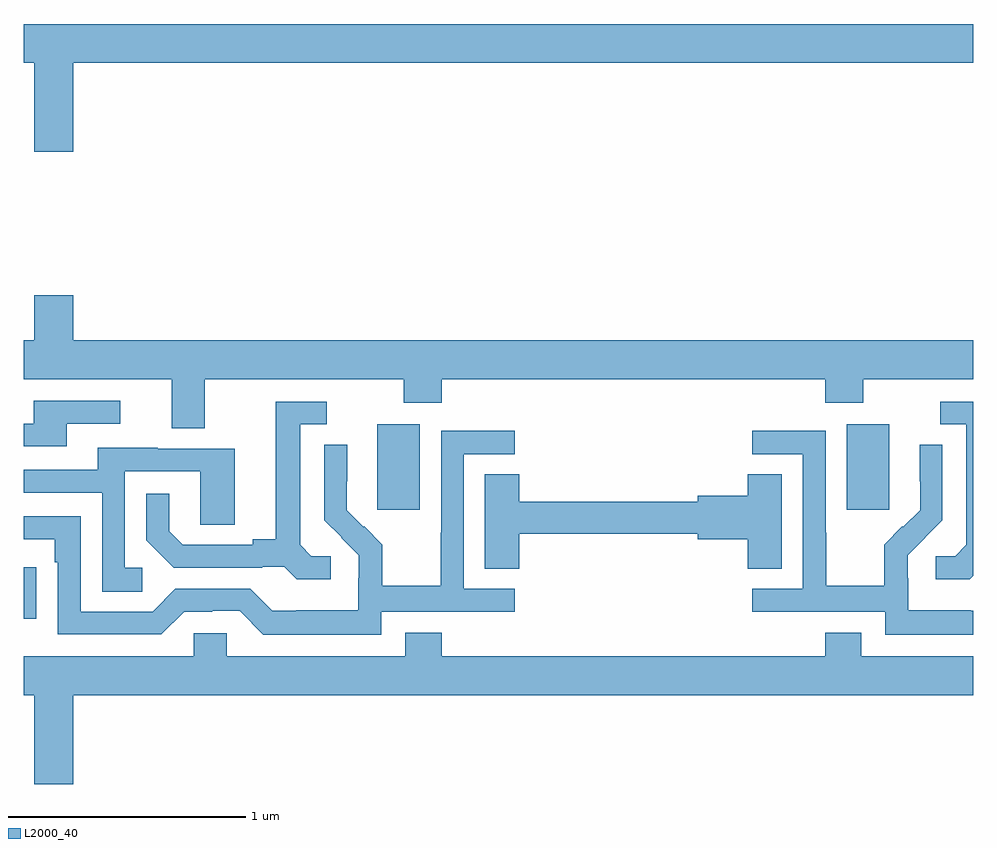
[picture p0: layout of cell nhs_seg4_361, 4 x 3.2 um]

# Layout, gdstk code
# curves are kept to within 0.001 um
import gdstk
lib = gdstk.Library(unit=1e-6, precision=1e-09)
def R(c, l, rs):  # rectangles x0, y0, x1, y1
    for r in rs: c.add(gdstk.rectangle(r[:2], r[2:], *l))
def P(c, l, *ps):  # polygons
    for p in ps: c.add(gdstk.Polygon(p, *l))
L2000_40 = (2000, 40)

nhs_seg4_361 = lib.new_cell('nhs_seg4_361')
R(nhs_seg4_361, L2000_40, [(129,767.838,129.053,768.056), (130.49,768.297,130.669,768.658), (132.467,768.297,132.646,768.658)])
P(nhs_seg4_361, L2000_40, [(129.208,770.18),(133,770.18),(133,770.344),(129,770.344),(129,770.18),(129.044,770.18),(129.044,769.806),(129.208,769.806)],
  [(129.763,768.848),(130.6,768.848),(130.6,768.749),(130.76,768.749),(130.76,768.848),(132.377,768.848),(132.377,768.749),(132.537,768.749),(132.537,768.848),(133,768.848),(133,769.012),(129.208,769.012),(129.208,769.201),(129.044,769.201),(129.044,769.012),(129,769.012),(129,768.848),(129.623,768.848),(129.623,768.64),(129.763,768.64)],
  [(129.181,768.66),(129.406,768.66),(129.406,768.756),(129.041,768.756),(129.041,768.66),(129,768.66),(129,768.564),(129.181,768.564)],
  [(133,768.019),(133,768.753),(132.861,768.753),(132.861,768.657),(132.971,768.657),(132.971,768.149),(132.924,768.102),(132.843,768.102),(132.843,768.005),(132.986,768.005)],
  [(130.294,768.102),(130.212,768.102),(130.165,768.149),(130.165,768.657),(130.276,768.657),(130.276,768.753),(130.061,768.753),(130.061,768.173),(129.965,768.173),(129.965,768.15),(129.67,768.15),(129.613,768.207),(129.613,768.364),(129.516,768.364),(129.516,768.17),(129.632,768.054),(130.004,768.054),(130.004,768.057),(130.098,768.057),(130.15,768.005),(130.294,768.005)],
  [(133,767.871),(132.989,767.871),(132.989,767.875),(132.726,767.875),(132.726,768.009),(132.724,768.009),(132.724,768.106),(132.87,768.254),(132.87,768.572),(132.774,768.572),(132.774,768.418),(132.776,768.418),(132.776,768.296),(132.705,768.225),(132.702,768.228),(132.625,768.151),(132.625,767.977),(132.381,767.977),(132.381,768.2),(132.378,768.2),(132.378,768.63),(132.069,768.63),(132.069,768.531),(132.282,768.531),(132.282,767.964),(132.069,767.964),(132.069,767.868),(132.63,767.868),(132.63,767.771),(133,767.771)],
  [(130.506,767.868),(131.068,767.868),(131.068,767.964),(130.854,767.964),(130.854,768.531),(131.068,768.531),(131.068,768.63),(130.758,768.63),(130.758,768.2),(130.756,768.2),(130.756,767.977),(130.511,767.977),(130.511,768.151),(130.434,768.228),(130.431,768.225),(130.361,768.296),(130.362,768.572),(130.266,768.572),(130.266,768.254),(130.412,768.106),(130.412,768.009),(130.41,768.009),(130.41,767.875),(130.147,767.875),(130.147,767.871),(130.047,767.871),(129.954,767.964),(129.639,767.964),(129.543,767.868),(129.24,767.868),(129.24,768.27),(129,768.27),(129,768.174),(129.131,768.174),(129.131,768.077),(129.144,768.077),(129.144,767.772),(129.579,767.772),(129.675,767.868),(129.794,767.868),(129.794,767.871),(129.909,767.871),(130.009,767.771),(130.506,767.771)],
  [(129.499,768.054),(129.426,768.054),(129.426,768.459),(129.744,768.459),(129.744,768.235),(129.889,768.235),(129.889,768.555),(129.565,768.555),(129.565,768.559),(129.311,768.559),(129.311,768.465),(129,768.465),(129,768.369),(129.33,768.369),(129.33,767.953),(129.499,767.953)],
  [(131.087,768.196),(131.84,768.196),(131.84,768.173),(132.05,768.173),(132.05,768.049),(132.193,768.049),(132.193,768.446),(132.05,768.446),(132.05,768.356),(131.84,768.356),(131.84,768.332),(131.087,768.332),(131.087,768.446),(130.943,768.446),(130.943,768.049),(131.087,768.049)],
  [(129.208,767.516),(133,767.516),(133,767.68),(132.529,767.68),(132.529,767.779),(132.377,767.779),(132.377,767.68),(130.76,767.68),(130.76,767.779),(130.607,767.779),(130.607,767.68),(129.855,767.68),(129.855,767.778),(129.717,767.778),(129.717,767.68),(129,767.68),(129,767.516),(129.044,767.516),(129.044,767.142),(129.208,767.142)])

lib.write_gds('nhs_seg4_361.gds')
